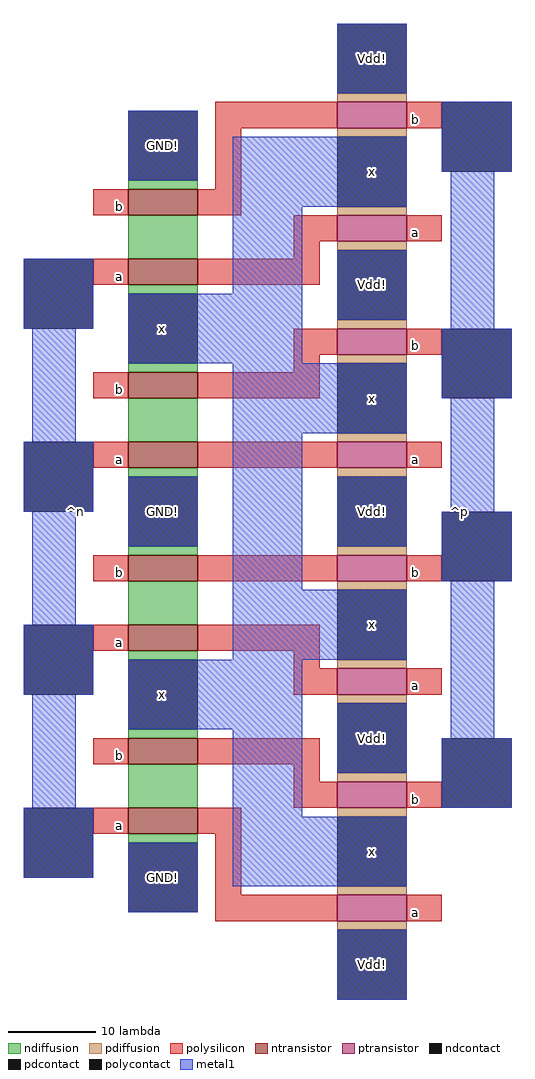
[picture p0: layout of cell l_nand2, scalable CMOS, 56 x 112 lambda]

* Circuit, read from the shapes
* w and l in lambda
.subckt l_nand2 GND! Vdd! a b x
M1 n1 a GND! VSUBS nfet w=8 l=3
M2 x b n1 VSUBS nfet w=8 l=3
M3 n2 a x VSUBS nfet w=8 l=3
M4 GND! b n2 VSUBS nfet w=8 l=3
M5 n3 a GND! VSUBS nfet w=8 l=3
M6 x b n3 VSUBS nfet w=8 l=3
M7 n4 a x VSUBS nfet w=8 l=3
M8 GND! b n4 VSUBS nfet w=8 l=3
M9 x a Vdd! NWELL pfet w=8 l=3 m=4
M10 Vdd! b x NWELL pfet w=8 l=3 m=4
.ends

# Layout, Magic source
magic
tech scmos
<< ndiffusion >>
rect 198 645 206 646
rect 198 637 206 642
rect 198 633 206 634
rect 198 624 206 625
rect 198 616 206 621
rect 198 612 206 613
rect 198 603 206 604
rect 198 595 206 600
rect 198 591 206 592
rect 198 582 206 583
rect 198 574 206 579
rect 198 570 206 571
<< pdiffusion >>
rect 222 655 230 656
rect 222 651 230 652
rect 222 642 230 643
rect 222 638 230 639
rect 222 629 230 630
rect 222 625 230 626
rect 222 616 230 617
rect 222 612 230 613
rect 222 603 230 604
rect 222 599 230 600
rect 222 590 230 591
rect 222 586 230 587
rect 222 577 230 578
rect 222 573 230 574
rect 222 564 230 565
rect 222 560 230 561
<< ntransistor >>
rect 198 642 206 645
rect 198 634 206 637
rect 198 621 206 624
rect 198 613 206 616
rect 198 600 206 603
rect 198 592 206 595
rect 198 579 206 582
rect 198 571 206 574
<< ptransistor >>
rect 222 652 230 655
rect 222 639 230 642
rect 222 626 230 629
rect 222 613 230 616
rect 222 600 230 603
rect 222 587 230 590
rect 222 574 230 577
rect 222 561 230 564
<< polysilicon >>
rect 208 652 222 655
rect 230 652 234 655
rect 208 645 211 652
rect 194 642 198 645
rect 206 642 211 645
rect 217 639 222 642
rect 230 639 234 642
rect 217 637 220 639
rect 194 634 198 637
rect 206 634 220 637
rect 217 626 222 629
rect 230 626 234 629
rect 217 624 220 626
rect 194 621 198 624
rect 206 621 220 624
rect 194 613 198 616
rect 206 613 222 616
rect 230 613 234 616
rect 194 600 198 603
rect 206 600 222 603
rect 230 600 234 603
rect 194 592 198 595
rect 206 592 220 595
rect 217 590 220 592
rect 217 587 222 590
rect 230 587 234 590
rect 194 579 198 582
rect 206 579 220 582
rect 217 577 220 579
rect 217 574 222 577
rect 230 574 234 577
rect 194 571 198 574
rect 206 571 211 574
rect 208 564 211 571
rect 208 561 222 564
rect 230 561 234 564
<< ndcontact >>
rect 198 646 206 654
rect 198 625 206 633
rect 198 604 206 612
rect 198 583 206 591
rect 198 562 206 570
<< pdcontact >>
rect 222 656 230 664
rect 222 643 230 651
rect 222 630 230 638
rect 222 617 230 625
rect 222 604 230 612
rect 222 591 230 599
rect 222 578 230 586
rect 222 565 230 573
rect 222 552 230 560
<< polycontact >>
rect 234 647 242 655
rect 186 629 194 637
rect 234 621 242 629
rect 186 608 194 616
rect 234 600 242 608
rect 186 587 194 595
rect 234 574 242 582
rect 186 566 194 574
<< metal1 >>
rect 222 656 230 664
rect 198 646 206 654
rect 210 643 230 651
rect 234 647 242 655
rect 186 629 194 637
rect 210 633 218 643
rect 187 616 192 629
rect 198 625 218 633
rect 222 630 230 638
rect 235 629 240 647
rect 210 617 230 625
rect 234 621 242 629
rect 186 608 194 616
rect 187 595 192 608
rect 198 604 206 612
rect 210 599 218 617
rect 222 604 230 612
rect 235 608 240 621
rect 234 600 242 608
rect 186 587 194 595
rect 210 591 230 599
rect 187 574 192 587
rect 198 583 218 591
rect 186 566 194 574
rect 210 573 218 583
rect 222 578 230 586
rect 235 582 240 600
rect 234 574 242 582
rect 198 562 206 570
rect 210 565 230 573
rect 222 552 230 560
<< labels >>
rlabel metal1 226 595 226 595 1 x
rlabel metal1 226 608 226 608 5 Vdd!
rlabel metal1 226 582 226 582 1 Vdd!
rlabel polysilicon 231 601 231 601 1 b
rlabel metal1 226 556 226 556 1 Vdd!
rlabel polysilicon 231 575 231 575 1 b
rlabel metal1 226 647 226 647 1 x
rlabel metal1 226 660 226 660 5 Vdd!
rlabel metal1 226 634 226 634 1 Vdd!
rlabel polysilicon 231 653 231 653 1 b
rlabel metal1 226 621 226 621 5 x
rlabel polysilicon 231 627 231 627 1 b
rlabel metal1 202 608 202 608 5 GND!
rlabel polysilicon 197 593 197 593 3 a
rlabel polysilicon 197 572 197 572 3 a
rlabel metal1 202 587 202 587 5 x
rlabel metal1 202 566 202 566 1 GND!
rlabel polysilicon 197 614 197 614 3 a
rlabel polysilicon 197 635 197 635 3 a
rlabel metal1 202 650 202 650 5 GND!
rlabel metal1 202 629 202 629 5 x
rlabel metal1 226 569 226 569 5 x
rlabel space 185 561 199 655 7 ^n
rlabel space 229 551 243 665 3 ^p
rlabel polysilicon 231 562 231 562 1 a
rlabel polysilicon 231 588 231 588 1 a
rlabel polysilicon 231 614 231 614 1 a
rlabel polysilicon 231 640 231 640 1 a
rlabel polysilicon 197 643 197 643 3 b
rlabel polysilicon 197 622 197 622 3 b
rlabel polysilicon 197 601 197 601 3 b
rlabel polysilicon 197 580 197 580 3 b
<< end >>
